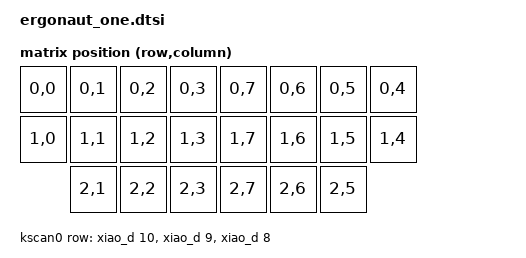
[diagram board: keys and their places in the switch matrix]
/*
 * Copyright (c) 2020 The ZMK Contributors
 *
 * SPDX-License-Identifier: MIT
 */

#include <dt-bindings/zmk/matrix_transform.h>

/ {
    chosen {
        zmk,kscan = &kscan0;
        zmk,matrix_transform = &default_transform;
        /* /delete-property/ zephyr,console; */
        /* /delete-property/ zephyr,shell-uart; */
    };

    default_transform: keymap_transform_0 {
        compatible = "zmk,matrix-transform";
        columns = <8>;
        rows = <3>;

            // | SW1  | SW2  | SW3  | SW4  | SW5  | SW6  |   | SW6  | SW5  | SW4  | SW3  | SW2  | SW1  |
            // | SW7  | SW8  | SW9  | SW10 | SW11 | SW12 |   | SW12 | SW11 | SW10 | SW9  | SW8  | SW7  |
            // | SW13 | SW14 | SW15 | SW16 | SW17 | SW18 |   | SW18 | SW17 | SW16 | SW15 | SW14 | SW13 |
            // |      |      |      | SW20 | SW21 | SW22 |   | SW22 | SW21 | SW20 |      |      |      |

        map = <
            RC(0,0) RC(0,1) RC(0,2) RC(0,3)  RC(0,7) RC(0,6) RC(0,5) RC(0,4)
            RC(1,0) RC(1,1) RC(1,2) RC(1,3)  RC(1,7) RC(1,6) RC(1,5) RC(1,4)
                    RC(2,1) RC(2,2) RC(2,3)  RC(2,7) RC(2,6) RC(2,5)
            >;
    };

	kscan0: kscan_0 {
		compatible = "zmk,kscan-gpio-matrix";
		label = "KSCAN";

		diode-direction = "row2col";
		row-gpios
			= <&xiao_d 10 (GPIO_ACTIVE_HIGH | GPIO_PULL_DOWN)>
			, <&xiao_d  9 (GPIO_ACTIVE_HIGH | GPIO_PULL_DOWN)>
			, <&xiao_d  8 (GPIO_ACTIVE_HIGH | GPIO_PULL_DOWN)>
			;
	};
};

&xiao_spi { status = "disabled"; };
&xiao_i2c { status = "disabled"; };
&xiao_serial { status = "disabled"; };
